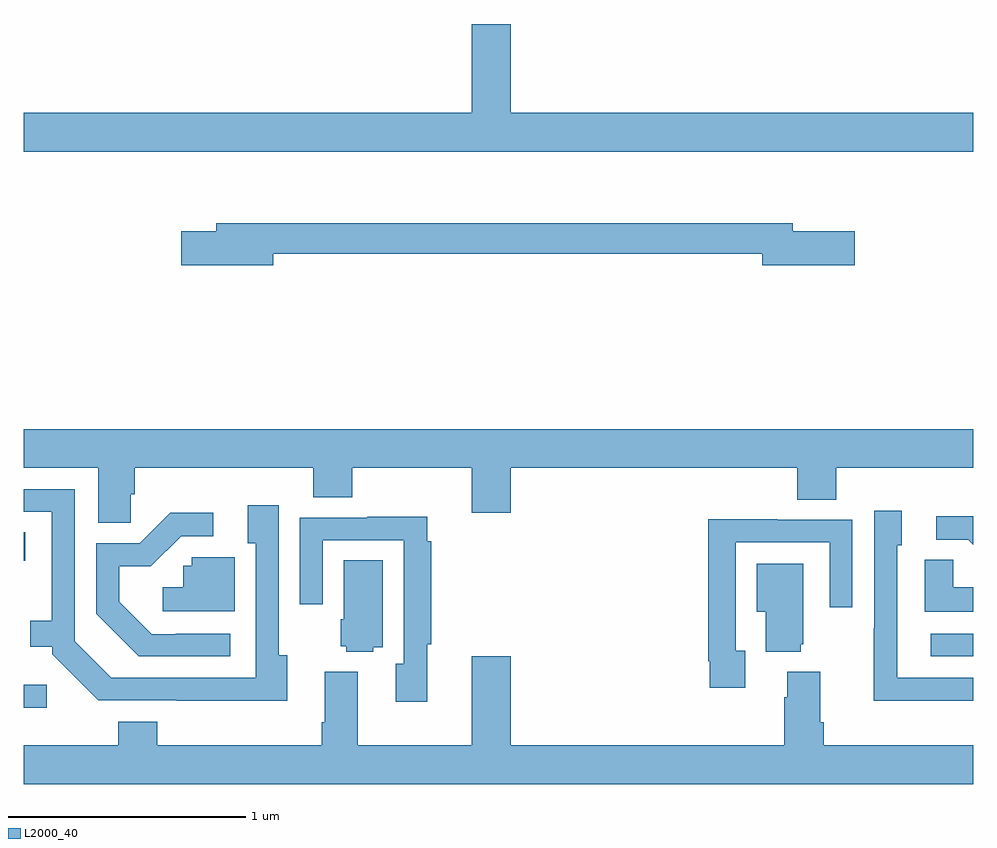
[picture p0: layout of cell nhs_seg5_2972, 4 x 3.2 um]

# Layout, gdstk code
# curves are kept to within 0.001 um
import gdstk
lib = gdstk.Library(unit=1e-6, precision=1e-09)
def R(c, l, rs):  # rectangles x0, y0, x1, y1
    for r in rs: c.add(gdstk.rectangle(r[:2], r[2:], *l))
def P(c, l, *ps):  # polygons
    for p in ps: c.add(gdstk.Polygon(p, *l))
L2000_40 = (2000, 40)

nhs_seg5_2972 = lib.new_cell('nhs_seg5_2972')
R(nhs_seg5_2972, L2000_40, [(283,887.717,283.096,887.815), (286.821,887.934,287,888.03), (283,888.337,283.006,888.458)])
P(nhs_seg5_2972, L2000_40, [(287,890.224),(285.052,890.224),(285.052,890.599),(284.888,890.599),(284.888,890.224),(283,890.224),(283,890.06),(287,890.06)],
  [(284.05,889.63),(286.112,889.63),(286.112,889.583),(286.501,889.583),(286.501,889.725),(286.24,889.725),(286.24,889.759),(283.811,889.759),(283.811,889.725),(283.662,889.725),(283.662,889.583),(284.05,889.583)],
  [(283.451,888.618),(283.466,888.618),(283.466,888.728),(284.219,888.728),(284.219,888.604),(284.384,888.604),(284.384,888.728),(284.888,888.728),(284.888,888.54),(285.052,888.54),(285.052,888.728),(286.259,888.728),(286.259,888.595),(286.424,888.595),(286.424,888.728),(287,888.728),(287,888.892),(283,888.892),(283,888.728),(283.313,888.728),(283.313,888.496),(283.451,888.496)],
  [(284.11,887.938),(284.073,887.938),(284.073,888.571),(283.943,888.571),(283.943,888.41),(283.977,888.41),(283.977,887.844),(283.368,887.844),(283.215,887.997),(283.215,888.639),(283,888.639),(283,888.543),(283.118,888.543),(283.118,888.085),(283.027,888.085),(283.027,887.975),(283.119,887.975),(283.119,887.943),(283.314,887.748),(284.11,887.747)],
  [(287,887.844),(286.68,887.844),(286.68,888.402),(286.699,888.402),(286.699,888.547),(286.584,888.547),(286.584,888.053),(286.582,888.053),(286.582,887.747),(287,887.747)],
  [(283.87,888.03),(283.639,888.03),(283.639,888.027),(283.539,888.027),(283.402,888.164),(283.402,888.314),(283.535,888.314),(283.662,888.441),(283.798,888.441),(283.798,888.539),(283.616,888.539),(283.488,888.411),(283.305,888.411),(283.305,888.113),(283.484,887.934),(283.87,887.934)],
  [(287,888.524),(286.845,888.524),(286.845,888.426),(286.979,888.426),(287,888.405)],
  [(284.699,887.986),(284.717,887.986),(284.717,888.419),(284.699,888.419),(284.699,888.523),(284.447,888.523),(284.447,888.519),(284.163,888.519),(284.163,888.153),(284.259,888.153),(284.259,888.423),(284.601,888.423),(284.601,887.903),(284.567,887.903),(284.567,887.742),(284.699,887.742)],
  [(286.039,887.958),(285.999,887.958),(285.999,888.414),(286.395,888.414),(286.395,888.141),(286.491,888.141),(286.491,888.51),(286.175,888.51),(286.175,888.512),(285.883,888.512),(285.883,887.914),(285.891,887.914),(285.891,887.802),(286.039,887.802)],
  [(283.888,888.351),(283.707,888.351),(283.707,888.315),(283.671,888.315),(283.671,888.226),(283.584,888.226),(283.584,888.123),(283.888,888.123)],
  [(287,888.226),(286.917,888.226),(286.917,888.341),(286.796,888.341),(286.796,888.122),(287,888.122)],
  [(284.472,887.972),(284.512,887.972),(284.512,888.338),(284.348,888.338),(284.348,888.09),(284.336,888.09),(284.336,887.976),(284.358,887.976),(284.358,887.954),(284.472,887.954)],
  [(286.274,887.985),(286.285,887.985),(286.285,888.325),(286.088,888.325),(286.088,888.122),(286.127,888.122),(286.127,887.954),(286.274,887.954)],
  [(287,887.56),(286.37,887.56),(286.37,887.656),(286.357,887.656),(286.357,887.869),(286.217,887.869),(286.217,887.762),(286.205,887.762),(286.205,887.56),(285.052,887.56),(285.052,887.935),(284.888,887.935),(284.888,887.56),(284.407,887.56),(284.407,887.869),(284.267,887.869),(284.267,887.656),(284.255,887.656),(284.255,887.56),(283.562,887.56),(283.562,887.659),(283.397,887.659),(283.397,887.56),(283,887.56),(283,887.396),(287,887.396)])

lib.write_gds('nhs_seg5_2972.gds')
